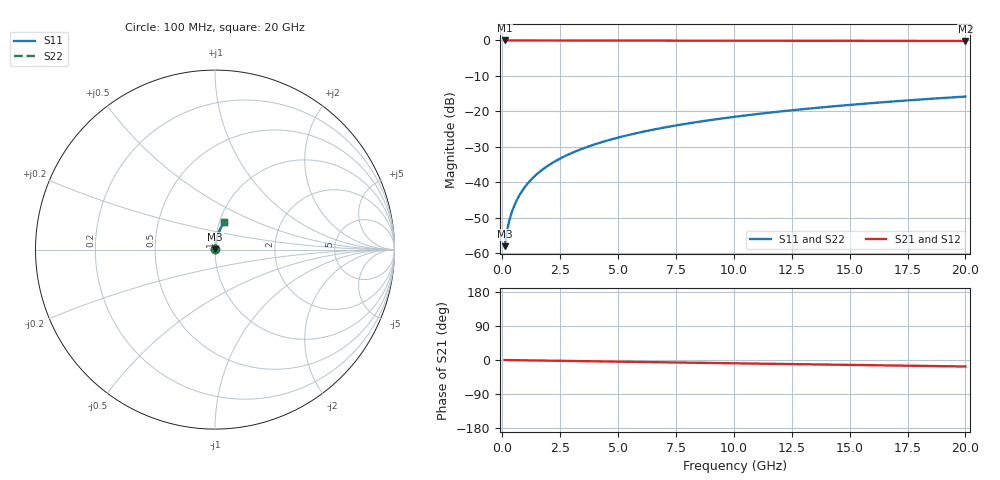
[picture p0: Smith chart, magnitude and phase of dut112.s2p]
! Touchstone file exported from HFSS 2026.1.0
!  File:  C:/ffzhzh/LocalFiles/Ansys_Project_Files/temp_train_TMRDL_112_1782982468_40604.aedt
!  Generated:  04:55:38 PM Jul  2, 2026
!  Design:  TMRDL
!  Project:  temp_train_TMRDL_112_1782982468_40604
! Variables:
!  h_bsmrdl = 2um
!  h_ox = 20um
!  h_rdl = 5um
!  h_sub = 80um
!  h_tmrdl = 4.23um
!  h_tsv = 80um
!  h_via = 3um
!  l_bsmrdl = 300um
!  l_sub = 613.44um
!  l_tmrdl = 213.44um
!  m_sub = 200um
!  pitch = 57.53um
!  r_tsv = 6um
!  s_tmrdl = 10um
!  w_bsmrdl = 18um
!  w_sub = 500um
!  w_tmrdl = 29.78um
!  x_tsv_center1 = 228.33um
!  x_tsv_center2 = 546.33um
!  x_tsv_center3 = 789.55um
!  x_tsv_center4 = 1107.55um
!  x_tsv_center5 = 1350.77um
!  x_tsv_center6 = 1668.77um
# GHz S MA R 50.000000
! Terminal data exported
! Port[1] = TM_RDL1_1_T1
! Port[2] = TM_RDL1_1_T2
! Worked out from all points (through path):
!   200 points, 100 MHz to 20 GHz, reference 50 ohm
!   highest |S21| = -0.01 dB at 100 MHz (marker M1); lowest = -0.2 dB at 20 GHz (marker M2)
!   group delay of S21, straight-line fit = 2.38 ps
!   lowest |S11| = -58.0 dB at 100 MHz (marker M3), VSWR 1.00, Z = 50.1 + j0.0952 ohm
!   |S11| at or under -10 dB: start of sweep to end of sweep
!   |S22| runs from -58.0 to -15.8 dB; largest |S21 - S12| = 3.2e-15
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0.1  0.001255 49.2  0.9992 -0.1  0.9992 -0.1  0.001255 49.2
! Gamma 0 0 0 0
! Port Impedance 50 0 50 0
0.2  0.002046 64.3  0.9991 -0.2  0.9991 -0.2  0.002046 64.3
0.3  0.002864 70.8  0.9991 -0.3  0.9991 -0.3  0.002864 70.8
0.4  0.003691 74.6  0.999 -0.4  0.999 -0.4  0.003691 74.6
0.5  0.004527 77.1  0.999 -0.4  0.999 -0.4  0.004527 77.1
0.7  0.006218 80.0  0.9989 -0.6  0.9989 -0.6  0.006218 80.0
0.8  0.00707 81.0  0.9989 -0.7  0.9989 -0.7  0.00707 81.0
1  0.008779 82.2  0.9989 -0.9  0.9989 -0.9  0.008779 82.2
1.2  0.01049 83.0  0.9988 -1.1  0.9988 -1.1  0.01049 83.0
1.4  0.01221 83.5  0.9988 -1.2  0.9988 -1.2  0.01221 83.5
1.7  0.01478 84.0  0.9987 -1.5  0.9987 -1.5  0.01478 84.0
2  0.01735 84.2  0.9986 -1.8  0.9986 -1.8  0.01735 84.2
2.7  0.02332 84.2  0.9983 -2.4  0.9983 -2.4  0.02332 84.2
3.5  0.03009 83.9  0.998 -3.1  0.998 -3.1  0.03009 83.9
4.2  0.03597 83.5  0.9976 -3.7  0.9976 -3.7  0.03597 83.5
5  0.04265 83.0  0.9971 -4.4  0.9971 -4.4  0.04265 83.0
6.8  0.05751 81.7  0.996 -6.0  0.996 -6.0  0.05751 81.7
8.3  0.06976 80.6  0.9949 -7.2  0.9949 -7.2  0.06976 80.6
10.1  0.08432 79.2  0.9934 -8.8  0.9934 -8.8  0.08432 79.2
13.4  0.1106 76.6  0.9904 -11.6  0.9904 -11.6  0.1106 76.6
16.7  0.1365 74.0  0.9868 -14.4  0.9868 -14.4  0.1365 74.0
20  0.1617 71.3  0.9826 -17.2  0.9826 -17.2  0.1617 71.3
